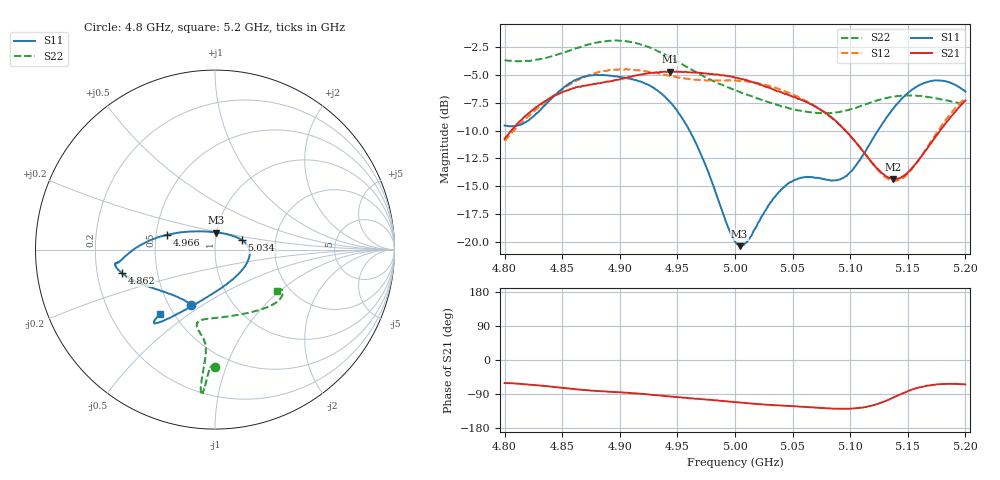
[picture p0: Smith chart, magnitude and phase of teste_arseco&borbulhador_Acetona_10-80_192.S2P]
! Network Analyzer HP8722D
! Hewlett-Packard
! Data name: Linha & Wilkinson
! Saver's name: Rodrigo Anjos
! Comments: Teste da utilização de aquisição
! continua pelo VNA HP8722D
! Time and date: 17/4/2025 15:57
!  Frequency  S11  S21  S12  S22
# HZ  S  MA R 50
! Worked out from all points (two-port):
!   401 points, 4.8 GHz to 5.2 GHz, reference 50 ohm
!   highest |S21| = -4.69 dB at 4.944 GHz (marker M1); lowest = -14.4 dB at 5.137 GHz (marker M2)
!   |S21| within 3 dB of the highest: 4.83 GHz to 5.067 GHz (236.7 MHz wide, 4.78 % of centre); 5.196285 GHz to end of sweep
!   lowest |S11| = -20.4 dB at 5.004 GHz (marker M3), VSWR 1.21, Z = 49.7 + j9.55 ohm
!   |S11| at or under -10 dB: 4.961 GHz to 5.124 GHz (163.6 MHz wide, 3.24 % of centre)
!   |S22| runs from -8.5 to -1.9 dB; largest |S21 - S12| = 0.88
!   S11 on the Smith chart (normalised r, x): 4.8 GHz: 0.65, -0.44; 4.862 GHz: 0.31, -0.11; 4.966 GHz: 0.57, +0.10; 5.034 GHz: 1.34, +0.15; 5.2 GHz: 0.42, -0.39
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4.8e9  0.3335 -113.4  0.2903 -60.8  0.2841 -175.0  0.656 -90.1
4.819e9  0.3472 -133.5  0.3711 -64.1  0.3601 -173.6  0.6516 -91.6
4.862e9  0.5353 -165.9  0.4957 -77.1  0.529 -176.9  0.7423 -93.9
4.867e9  0.5485 -167.9  0.5014 -78.8  0.5444 -177.8  0.7552 -94.0
4.899e9  0.5519 -172.4  0.5359 -85.1  0.5961 175.5  0.8041 -95.3
4.934e9  0.4737 -178.2  0.5779 -93.7  0.572 171.6  0.7151 -95.8
4.944e9  0.4234 177.2  0.5828 -96.3  0.5551 171.7  0.6736 -95.5
4.966e9  0.2779 162.6  0.5766 -102.1  0.5355 173.7  0.5806 -95.0
5e9  0.1005 100.7  0.5467 -111.1  0.5311 176.1  0.4802 -99.2
5.004e9  0.09544 86.6  0.543 -112.1  0.529 176.2  0.4729 -100.0
5.012e9  0.1028 60.3  0.5288 -114.4  0.5242 175.8  0.4557 -101.8
5.034e9  0.1577 20.1  0.4829 -119.3  0.4954 174.8  0.4165 -103.5
5.05e9  0.1873 3.8  0.4491 -121.8  0.4592 174.0  0.3953 -99.5
5.067e9  0.195 -14.3  0.4126 -124.9  0.4162 173.8  0.3818 -90.6
5.086e9  0.1887 -44.5  0.3543 -128.4  0.3529 173.7  0.3807 -76.2
5.097e9  0.1975 -67.0  0.3111 -128.7  0.3118 174.6  0.3899 -67.2
5.134e9  0.3768 -116.7  0.1937 -103.9  0.19 -156.9  0.4459 -43.0
5.137e9  0.3947 -118.4  0.1913 -99.8  0.188 -152.2  0.4491 -41.7
5.15e9  0.4668 -124.4  0.2046 -82.2  0.2017 -131.9  0.4551 -36.7
5.17e9  0.5277 -129.0  0.2768 -66.2  0.2818 -112.4  0.4459 -32.0
5.184e9  0.5249 -130.3  0.3474 -63.1  0.3593 -107.2  0.4325 -31.1
5.2e9  0.4731 -130.6  0.4317 -64.5  0.4441 -106.5  0.4151 -33.4
